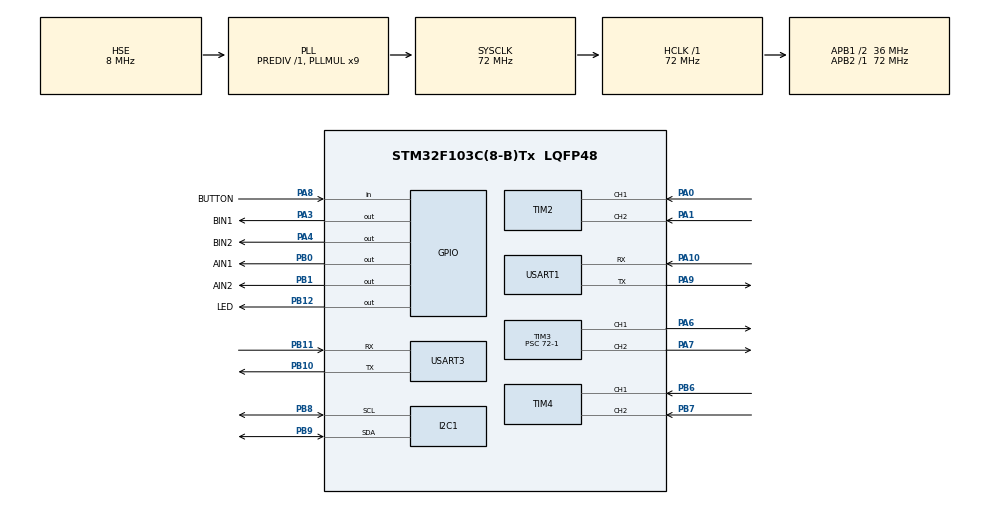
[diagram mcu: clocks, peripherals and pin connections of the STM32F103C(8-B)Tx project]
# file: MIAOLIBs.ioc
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Mcu.Family=STM32F1
Mcu.Name=STM32F103C(8-B)Tx
Mcu.Package=LQFP48
NVIC.PriorityGroup=NVIC_PRIORITYGROUP_4
NVIC.USART1_IRQn=true\:0\:0\:false\:false\:true\:true\:true\:true
NVIC.USART3_IRQn=true\:0\:0\:false\:false\:true\:true\:true\:true
PA0-WKUP.Signal=S_TIM2_CH1_ETR
PA1.Signal=S_TIM2_CH2
PA10.Mode=Asynchronous
PA10.Signal=USART1_RX
PA13.Mode=Serial_Wire
PA13.Signal=SYS_JTMS-SWDIO
PA14.Mode=Serial_Wire
PA14.Signal=SYS_JTCK-SWCLK
PA3.GPIO_Label=BIN1
PA3.Signal=GPIO_Output
PA4.GPIO_Label=BIN2
PA4.Signal=GPIO_Output
PA6.Signal=S_TIM3_CH1
PA7.Signal=S_TIM3_CH2
PA8.GPIO_Label=BUTTON
PA8.GPIO_PuPd=GPIO_PULLUP
PA8.Signal=GPIO_Input
PA9.Mode=Asynchronous
PA9.Signal=USART1_TX
PB0.GPIO_Label=AIN1
PB0.Signal=GPIO_Output
PB1.GPIO_Label=AIN2
PB1.Signal=GPIO_Output
PB10.Mode=Asynchronous
PB10.Signal=USART3_TX
PB11.Mode=Asynchronous
PB11.Signal=USART3_RX
PB12.GPIO_Label=LED
PB12.GPIO_Speed=GPIO_SPEED_FREQ_HIGH
PB12.PinState=GPIO_PIN_SET
PB12.Signal=GPIO_Output
PB6.Signal=S_TIM4_CH1
PB7.Signal=S_TIM4_CH2
PB8.Mode=I2C
PB8.Signal=I2C1_SCL
PB9.Mode=I2C
PB9.Signal=I2C1_SDA
PC14-OSC32_IN.Mode=LSE-External-Oscillator
PC14-OSC32_IN.Signal=RCC_OSC32_IN
PC15-OSC32_OUT.Mode=LSE-External-Oscillator
PC15-OSC32_OUT.Signal=RCC_OSC32_OUT
PD0-OSC_IN.Mode=HSE-External-Oscillator
PD0-OSC_IN.Signal=RCC_OSC_IN
PD1-OSC_OUT.Mode=HSE-External-Oscillator
PD1-OSC_OUT.Signal=RCC_OSC_OUT
ProjectManager.HeapSize=0x200
ProjectManager.StackSize=0x400
ProjectManager.TargetToolchain=MDK-ARM V5.32
RCC.AHBFreq_Value=72000000
RCC.APB1CLKDivider=RCC_HCLK_DIV2
RCC.APB1Freq_Value=36000000
RCC.APB1TimFreq_Value=72000000
RCC.APB2Freq_Value=72000000
RCC.APB2TimFreq_Value=72000000
RCC.HCLKFreq_Value=72000000
RCC.PLLMUL=RCC_PLL_MUL9
RCC.PLLSourceVirtual=RCC_PLLSOURCE_HSE
RCC.SYSCLKFreq_VALUE=72000000
RCC.SYSCLKSource=RCC_SYSCLKSOURCE_PLLCLK
RCC.USBFreq_Value=72000000
SH.S_TIM2_CH1_ETR.0=TIM2_CH1,Encoder_Interface
SH.S_TIM2_CH2.0=TIM2_CH2,Encoder_Interface
SH.S_TIM3_CH1.0=TIM3_CH1,PWM Generation1 CH1
SH.S_TIM3_CH2.0=TIM3_CH2,PWM Generation2 CH2
SH.S_TIM4_CH1.0=TIM4_CH1,Encoder_Interface
SH.S_TIM4_CH2.0=TIM4_CH2,Encoder_Interface
TIM2.EncoderMode=TIM_ENCODERMODE_TI12
TIM2.IC1Filter=6
TIM2.IC2Filter=6
TIM3.Channel-PWM\ Generation1\ CH1=TIM_CHANNEL_1
TIM3.Channel-PWM\ Generation2\ CH2=TIM_CHANNEL_2
TIM3.OCMode_PWM-PWM\ Generation1\ CH1=TIM_OCMODE_PWM1
TIM3.Period=1000-1
TIM3.Prescaler=72-1
TIM3.Pulse-PWM\ Generation1\ CH1=500-1
TIM3.Pulse-PWM\ Generation2\ CH2=500-1
TIM4.EncoderMode=TIM_ENCODERMODE_TI12
TIM4.IC1Filter=6
TIM4.IC2Filter=6
USART1.VirtualMode=VM_ASYNC
USART3.VirtualMode=VM_ASYNC
VP_TIM3_VS_ClockSourceINT.Mode=Internal
board=custom

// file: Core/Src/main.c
/* USER CODE BEGIN Header */
/**
  ******************************************************************************
  * @file           : main.c
  * @brief          : Main program body
  ******************************************************************************
  * @attention
  *
  * Copyright (c) 2023 STMicroelectronics.
  * All rights reserved.
  *
  * This software is licensed under terms that can be found in the LICENSE file
  * in the root directory of this software component.
  * If no LICENSE file comes with this software, it is provided AS-IS.
  *
  ******************************************************************************
  */
/* USER CODE END Header */
#include "main.h"
#include "i2c.h"
#include "tim.h"
#include "usart.h"
#include "gpio.h"
#include "string.h"

/* USER CODE BEGIN PTD */
	uint8_t buf[1];
/* USER CODE END PTD */

void SystemClock_Config(void);

int main(void)
{
  /* USER CODE BEGIN 1 */
//  int iTempTim4Encoder; //临时存放从TIM4编码器接口捕获到的脉冲数�?
//  short accx, accy, accz;
//  short gyrox, gyroy, gyroz;
//	int iTemTimencoder1, iTemTimencoder2;
//	float v1, v2;

  /* USER CODE END 1 */

  /* MCU Configuration--------------------------------------------------------*/

  /* Reset of all peripherals, Initializes the Flash interface and the Systick. */
  HAL_Init();

  /* Configure the system clock */
  SystemClock_Config();

  /* Initialize all configured peripherals */
  MX_GPIO_Init();
  MX_USART1_UART_Init();
  MX_TIM4_Init();
  MX_TIM3_Init();
  MX_I2C1_Init();
  MX_TIM2_Init();
  MX_USART3_UART_Init();
	HAL_UART_Receive_IT(&huart3, buf, 1);
  /* USER CODE BEGIN 2 */
	HAL_TIM_Encoder_Start(&htim4, TIM_CHANNEL_ALL);
	HAL_TIM_Encoder_Start(&htim2, TIM_CHANNEL_ALL);
  HAL_TIM_PWM_Start(&htim3, TIM_CHANNEL_1);
	HAL_TIM_PWM_Start(&htim3, TIM_CHANNEL_2);
	HAL_GPIO_WritePin(BIN1_GPIO_Port, BIN1_Pin, GPIO_PIN_SET);
//	HAL_GPIO_WritePin(AIN1_GPIO_Port, AIN1_Pin, GPIO_PIN_SET);
	HAL_GPIO_WritePin(BIN2_GPIO_Port, BIN2_Pin, GPIO_PIN_RESET);
//	HAL_GPIO_WritePin(AIN2_GPIO_Port, AIN2_Pin, GPIO_PIN_RESET);

	if(!MPU_Init())
	{
		printf("mpu6050 on ready");
	}
  /* USER CODE END 2 */

  /* Infinite loop */
  /* USER CODE BEGIN WHILE */
  while (1)
  {
			printf("小车角度 = %f", g_fCarAngle);
			HAL_Delay(500);
			HAL_GPIO_TogglePin(LED_GPIO_Port,LED_Pin);

		  if(g_iButtonState == 1)
  {
      while(HAL_GPIO_ReadPin(BUTTON_GPIO_Port,BUTTON_Pin)==GPIO_PIN_RESET);//按键松手检测
      g_nSpeedTarget +=10;
      HAL_GPIO_TogglePin(LED_GPIO_Port,LED_Pin);
      HAL_Delay(10);
  }
			printf("$%.1f %.1f;", (float)g_nLeftMotorPulse, (float)g_nSpeedTarget);//发送到地面站，显示波形

//		HAL_Delay(1000);
//		iTemTimencoder1 = GetTim4encoder();
//		iTemTimencoder2 = GetTim2encoder();
//		v1 = (18.84/1536)*iTemTimencoder1 ;
//		v2 = (18.84/1536)*iTemTimencoder2 ;
//		printf("v1 = %.2f(cm/s), v2 = %.2f(cm/s)\r\n", v1, v2);   //每隔�?秒获取�?�度
//
//		MPU_Get_Gyroscope(&gyrox, &gyroy, &gyroz);
//		MPU_Get_Accelerometer(&accx, &accy, &accz);
//		printf("gyrox=%d, gyroy=%d, gytoz=%d \n ", gyrox, gyroy, gyroz);  //获取加�?�度�?
//		printf("accx=%d, accy=%d, accz=%d \n ", accx, accy, accz);
//
//		if(g_iButtonState == 1)
//		{
//			HAL_GPIO_TogglePin(LED_GPIO_Port, LED_Pin);
//			HAL_GPIO_TogglePin(BIN1_GPIO_Port, BIN1_Pin);
//			HAL_GPIO_TogglePin(BIN2_GPIO_Port, BIN2_Pin);
//			HAL_GPIO_TogglePin(AIN1_GPIO_Port, AIN1_Pin);
//			HAL_GPIO_TogglePin(AIN2_GPIO_Port, AIN2_Pin);
//		}

//		HAL_UART_Transmit(&huart3, buf, 1, 100);

//

//		printf("the pluse of tim4 is = %d\r\n", iTemTimencoder1);
//		printf("the pluse of tim2 is = %d\r\n", iTemTimencoder2);

//		if(g_iButtonState == 1)
//		{
//			HAL_GPIO_TogglePin(LED_GPIO_Port, LED_Pin);
//		}
//			__HAL_TIM_SET_COMPARE(&htim3, TIM_CHANNEL_1, 100);
//			__HAL_TIM_SET_COMPARE(&htim3, TIM_CHANNEL_2, 100);

//

//    HAL_Delay(1000);

//

//		printf("the pluse of tim4 is = %d\r\n", iTSSemTimencoder1);
//		printf("the pluse of tim2 is = %d\r\n", iTemTimencoder2);
//		HAL_GPIO_TogglePin(LED_GPIO_Port,LED_Pin);
//		HAL_Delay(1000);

//		MPU_Get_Gyroscope(&gyrox, &gyroy, &gyroz);
//		MPU_Get_Accelerometer(&accx, &accy, &accz);

//		HAL_Delay(1000);
//		if(g_iButtonState == 1)
//		{
//		HAL_GPIO_TogglePin(LED_GPIO_Port, LED_Pin);
//		printf("LED GPIO TPGGLE!\n");
//		HAL_GPIO_TogglePin(BIN1_GPIO_Port, BIN1_Pin);
//		HAL_GPIO_TogglePin(BIN2_GPIO_Port, BIN2_Pin);
//		}
//		HAL_Delay(5000);
//		iTempTim4Encoder = GetTim4Encoder();
// 		printf("the pulse of tim encoder mode = %d\n",  iTempTim4Encoder);
//		HAL_GPIO_TogglePin(LED_GPIO_Port, LED_Pin);
//		if(g_iButtonState == 1)
//		{
//			HAL_GPIO_TogglePin(LED_GPIO_Port,LED_Pin);
//			printf("LED IS TURN ON\n");
//		}
    /* USER CODE END WHILE */

  }
}

void SystemClock_Config(void)
{
  RCC_OscInitTypeDef RCC_OscInitStruct = {0};
  RCC_ClkInitTypeDef RCC_ClkInitStruct = {0};

  /** Initializes the RCC Oscillators according to the specified parameters
  * in the RCC_OscInitTypeDef structure.
  */
  RCC_OscInitStruct.OscillatorType = RCC_OSCILLATORTYPE_HSE;
  RCC_OscInitStruct.HSEState = RCC_HSE_ON;
  RCC_OscInitStruct.HSEPredivValue = RCC_HSE_PREDIV_DIV1;
  RCC_OscInitStruct.HSIState = RCC_HSI_ON;
  RCC_OscInitStruct.PLL.PLLState = RCC_PLL_ON;
  RCC_OscInitStruct.PLL.PLLSource = RCC_PLLSOURCE_HSE;
  RCC_OscInitStruct.PLL.PLLMUL = RCC_PLL_MUL9;
  if (HAL_RCC_OscConfig(&RCC_OscInitStruct) != HAL_OK)
  {
    Error_Handler();
  }

  /** Initializes the CPU, AHB and APB buses clocks
  */
  RCC_ClkInitStruct.ClockType = RCC_CLOCKTYPE_HCLK|RCC_CLOCKTYPE_SYSCLK
                              |RCC_CLOCKTYPE_PCLK1|RCC_CLOCKTYPE_PCLK2;
  RCC_ClkInitStruct.SYSCLKSource = RCC_SYSCLKSOURCE_PLLCLK;
  RCC_ClkInitStruct.AHBCLKDivider = RCC_SYSCLK_DIV1;
  RCC_ClkInitStruct.APB1CLKDivider = RCC_HCLK_DIV2;
  RCC_ClkInitStruct.APB2CLKDivider = RCC_HCLK_DIV1;

  if (HAL_RCC_ClockConfig(&RCC_ClkInitStruct, FLASH_LATENCY_2) != HAL_OK)
  {
    Error_Handler();
  }
}

/* USER CODE BEGIN 4 */
void HAL_UART_RxCpltCallback(UART_HandleTypeDef *huart)
{

	if(huart -> Instance ==  huart3.Instance)
	{
		if(buf[0] == 0x01)
		{
		 HAL_UART_Transmit_IT(&huart3, buf, 1);
			__HAL_TIM_SET_COMPARE(&htim3, TIM_CHANNEL_1, 100);
			__HAL_TIM_SET_COMPARE(&htim3, TIM_CHANNEL_2, 100);
		}
	  if(buf[0] == 0x03)
		{
			HAL_UART_Transmit_IT(&huart3, buf, 1);
			__HAL_TIM_SET_COMPARE(&htim3, TIM_CHANNEL_1, 300);
			__HAL_TIM_SET_COMPARE(&htim3, TIM_CHANNEL_2, 300);
		}
	  if(buf[0] == 0x08)
		{
			HAL_UART_Transmit_IT(&huart3, buf, 1);
			__HAL_TIM_SET_COMPARE(&htim3, TIM_CHANNEL_1, 800);
			__HAL_TIM_SET_COMPARE(&htim3, TIM_CHANNEL_2, 800);
		}
	}
	HAL_UART_Receive_IT(&huart3, buf, sizeof(buf));
}
/* USER CODE END 4 */

void Error_Handler(void)
{
  __disable_irq();
  while (1)
  {
  }
}
